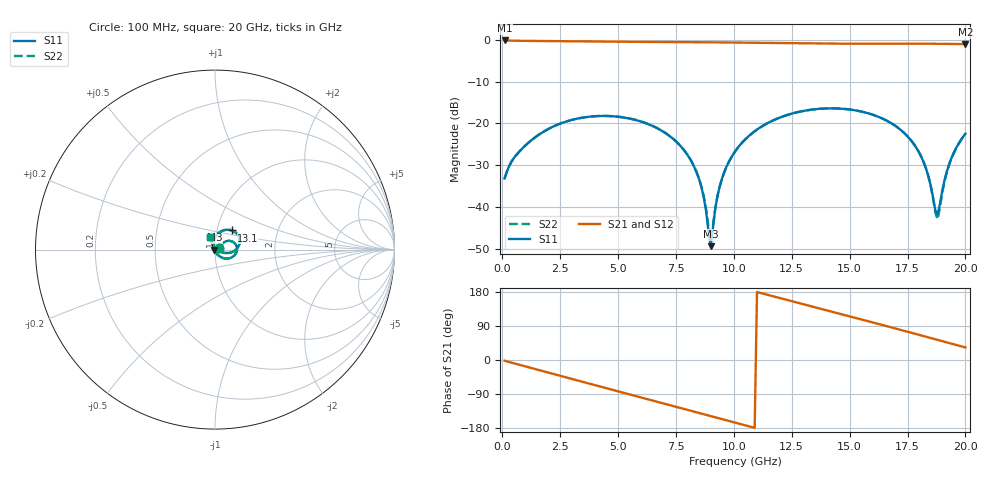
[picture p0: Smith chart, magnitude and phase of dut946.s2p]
! Touchstone file exported from HFSS 2026.1.0
!  File:  C:/ffzhzh/LocalFiles/Ansys_Project_Files/temp_train_TSV_RDL_946_1783282496_38820.aedt
!  Generated:  04:22:49 AM Jul  6, 2026
!  Design:  TSV_RDL
!  Project:  temp_train_TSV_RDL_946_1783282496_38820
! Variables:
!  h_bsmrdl = 3.78um
!  h_ox = 20um
!  h_rdl = 5um
!  h_sub = 61um
!  h_tmrdl = 3.94um
!  h_tsv = 61um
!  h_via = 3um
!  l_bsmrdl = 378.44um
!  l_sub = 5564.68um
!  l_tmrdl = 970.74um
!  m_sub = 200um
!  pitch = 32.01um
!  r_tsv = 13.15um
!  s_tmrdl = 10um
!  w_bsmrdl = 25.64um
!  w_sub = 500um
!  w_tmrdl = 23.16um
!  x_tsv_center1 = 982.32um
!  x_tsv_center2 = 1386.4um
!  x_tsv_center3 = 2380.3um
!  x_tsv_center4 = 2784.38um
!  x_tsv_center5 = 3778.28um
!  x_tsv_center6 = 4182.36um
# GHz S MA R 50.000000
! Terminal data exported
! Port[1] = TM_RDL1_1_T1
! Port[2] = TM_RDL5_1_T1
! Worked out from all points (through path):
!   200 points, 100 MHz to 20 GHz, reference 50 ohm
!   highest |S21| = -0.18 dB at 100 MHz (marker M1); lowest = -1.1 dB at 20 GHz (marker M2)
!   group delay of S21, straight-line fit = 45.2 ps
!   lowest |S11| = -49.4 dB at 9 GHz (marker M3), VSWR 1.01, Z = 49.7 - j0.0933 ohm
!   |S11| at or under -10 dB: start of sweep to end of sweep
!   |S22| runs from -47.9 to -16.4 dB; largest |S21 - S12| = 1.7e-14
!   S11 on the Smith chart (normalised r, x): 100 MHz: 1.04, +0.01; 13.1 GHz: 1.18, +0.26; 20 GHz: 0.94, +0.13
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0.1  0.02192 18.3  0.9794 -1.9  0.9794 -1.9  0.02192 18.3
! Gamma 0 0 0 0
! Port Impedance 50 0 50 0
0.5  0.0384 35.3  0.972 -8.7  0.972 -8.7  0.0384 35.3
1.3  0.06428 39.1  0.9667 -21.9  0.9667 -21.9  0.06429 39.1
3.5  0.1174 15.2  0.9536 -58.2  0.9536 -58.2  0.1175 15.1
5.2  0.118 -10.4  0.9458 -85.8  0.9458 -85.8  0.1181 -10.6
6.8  0.08423 -36.1  0.9406 -111.9  0.9406 -111.9  0.08444 -36.5
8.3  0.02968 -64.1  0.9348 -136.5  0.9348 -136.5  0.02996 -65.3
8.7  0.01308 -78.9  0.9328 -143.1  0.9328 -143.1  0.01346 -81.4
9  0.0034 -164.0  0.931 -148.0  0.931 -148.0  0.00404 -160.3
9.2  0.00964 128.7  0.9298 -151.3  0.9298 -151.3  0.009706 132.7
9.4  0.01808 115.8  0.9285 -154.6  0.9285 -154.6  0.01802 117.9
10.1  0.0481 98.0  0.9236 -166.0  0.9236 -166.0  0.04797 98.7
11.3  0.09518 77.2  0.9143 174.5  0.9143 174.5  0.09507 77.5
13.1  0.1423 48.7  0.9019 145.6  0.9019 145.6  0.1423 48.8
13.4  0.1464 44.1  0.9004 140.8  0.9004 140.8  0.1464 44.1
15.1  0.1451 18.2  0.8959 113.7  0.8959 113.7  0.1452 18.1
16.7  0.104 -5.3  0.8962 87.8  0.8962 87.8  0.1042 -5.7
18.1  0.03948 -20.2  0.8956 64.7  0.8956 64.7  0.03962 -21.6
18.4  0.02337 -16.7  0.8949 59.8  0.8949 59.8  0.0234 -19.1
18.8  0.008087 56.4  0.8934 53.1  0.8934 53.1  0.007118 54.9
19.3  0.03262 114.8  0.8909 44.8  0.8909 44.8  0.03205 116.2
20  0.07511 111.8  0.8857 33.1  0.8857 33.1  0.07466 112.4
